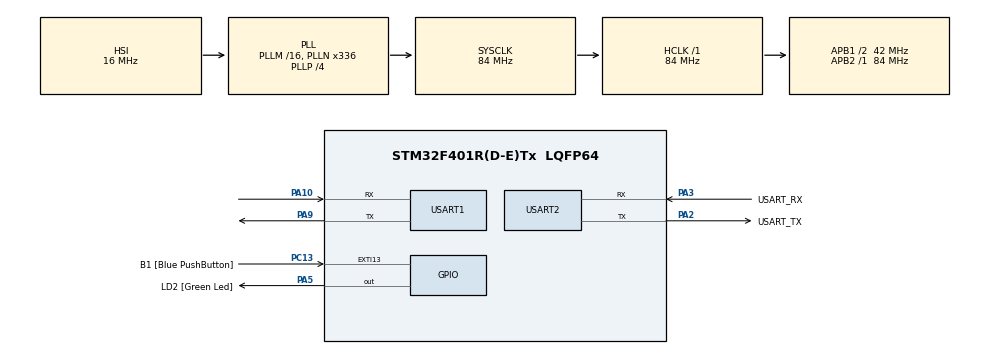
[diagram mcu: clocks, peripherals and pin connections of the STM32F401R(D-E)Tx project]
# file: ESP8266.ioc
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Mcu.Family=STM32F4
Mcu.Name=STM32F401R(D-E)Tx
Mcu.Package=LQFP64
NVIC.PriorityGroup=NVIC_PRIORITYGROUP_0
NVIC.USART1_IRQn=true\:0\:3\:false\:true\:true\:2\:true\:true\:true
NVIC.USART2_IRQn=true\:0\:4\:false\:true\:true\:1\:true\:true\:true
PA10.Mode=Asynchronous
PA10.Signal=USART1_RX
PA13.GPIO_Label=TMS
PA13.Mode=Serial_Wire
PA13.Signal=SYS_JTMS-SWDIO
PA14.GPIO_Label=TCK
PA14.Mode=Serial_Wire
PA14.Signal=SYS_JTCK-SWCLK
PA2.GPIO_Label=USART_TX
PA2.GPIO_Mode=GPIO_MODE_AF_PP
PA2.GPIO_PuPd=GPIO_NOPULL
PA2.GPIO_Speed=GPIO_SPEED_FREQ_LOW
PA2.Mode=Asynchronous
PA2.Signal=USART2_TX
PA3.GPIO_Label=USART_RX
PA3.GPIO_Mode=GPIO_MODE_AF_PP
PA3.GPIO_PuPd=GPIO_NOPULL
PA3.GPIO_Speed=GPIO_SPEED_FREQ_LOW
PA3.Mode=Asynchronous
PA3.Signal=USART2_RX
PA5.GPIO_Label=LD2 [Green Led]
PA5.GPIO_Mode=GPIO_MODE_OUTPUT_PP
PA5.GPIO_PuPd=GPIO_NOPULL
PA5.GPIO_Speed=GPIO_SPEED_FREQ_LOW
PA5.Signal=GPIO_Output
PA9.Mode=Asynchronous
PA9.Signal=USART1_TX
PB3.GPIO_Label=SWO
PB3.Signal=SYS_JTDO-SWO
PC13-ANTI_TAMP.GPIO_Label=B1 [Blue PushButton]
PC13-ANTI_TAMP.GPIO_ModeDefaultEXTI=GPIO_MODE_IT_FALLING
PC13-ANTI_TAMP.GPIO_PuPd=GPIO_NOPULL
PC13-ANTI_TAMP.Signal=GPXTI13
PC14-OSC32_IN.Mode=LSE-External-Oscillator
PC14-OSC32_IN.Signal=RCC_OSC32_IN
PC15-OSC32_OUT.Mode=LSE-External-Oscillator
PC15-OSC32_OUT.Signal=RCC_OSC32_OUT
PH0\ -\ OSC_IN.Mode=HSE-External-Clock-Source
PH0\ -\ OSC_IN.Signal=RCC_OSC_IN
PH1\ -\ OSC_OUT.Mode=HSE-External-Clock-Source
PH1\ -\ OSC_OUT.Signal=RCC_OSC_OUT
ProjectManager.HeapSize=0x200
ProjectManager.StackSize=0x400
ProjectManager.TargetToolchain=STM32CubeIDE
RCC.48MHZClocksFreq_Value=48000000
RCC.AHBFreq_Value=84000000
RCC.APB1CLKDivider=RCC_HCLK_DIV2
RCC.APB1Freq_Value=42000000
RCC.APB1TimFreq_Value=84000000
RCC.APB2Freq_Value=84000000
RCC.APB2TimFreq_Value=84000000
RCC.CortexFreq_Value=84000000
RCC.HCLKFreq_Value=84000000
RCC.HSE_VALUE=8000000
RCC.HSI_VALUE=16000000
RCC.PLLN=336
RCC.PLLP=RCC_PLLP_DIV4
RCC.PLLQ=7
RCC.SYSCLKFreq_VALUE=84000000
RCC.SYSCLKSource=RCC_SYSCLKSOURCE_PLLCLK
RCC.VCOOutputFreq_Value=336000000
USART1.VirtualMode=VM_ASYNC
USART2.VirtualMode=VM_ASYNC
board=NUCLEO-F401RE

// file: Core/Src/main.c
/* USER CODE BEGIN Header */
/**
  ******************************************************************************
  * @file           : main.c
  * @brief          : Main program body
  ******************************************************************************
  * @attention
  *
  * Copyright (c) 2023 STMicroelectronics.
  * All rights reserved.
  *
  * This software is licensed under terms that can be found in the LICENSE file
  * in the root directory of this software component.
  * If no LICENSE file comes with this software, it is provided AS-IS.
  *
  ******************************************************************************
  */
/* USER CODE END Header */
#include "main.h"

/* USER CODE BEGIN Includes */
#include "queue.h"
#include "ESP8266.h"
/* USER CODE END Includes */

/* USER CODE BEGIN PTD */
/*
 NUCLEO-F401RE
 D2 A10 RX
 D8 A9  TX

 WIFI PIN
 | O TX    -> D2     |       GND      O |
 | O CH_EN -> 3.3V   |       GPIO2    O |
 | O RST             |       GPIO0    O |
 | O VCC   -> 3.3V   | D8 <- RX       O |
//netsh wlan set hostednetwork mode=allow ssid=A123  key=u9923001
//列出基地台:  AT+CWLAP
//和WIFI連線:  AT+CWJAP="612-2","u9923001"
//查詢IP:  AT+CIFSR
//發送封包步驟:
//建立TCP連線:  AT+CIPSTART="TCP","192.168.0.168",8080
//設定傳送字數:  AT+CIPSEND=29
//設定傳送的內容:  GET /192.168.0.168:8080?test=1
//發送內容並結束TCP連線: AT+CIPCLOSE
//結束WIFI連線: AT+CWQAP
//AT+CIPSTATUS

*/
/* USER CODE END PTD */

UART_HandleTypeDef huart1;
UART_HandleTypeDef huart2;

/* USER CODE BEGIN PV */
char pcTxBuff[64];
char pcRxBuff[64];
char wifiTxBuff[64];
char wifiRxBuff[64];
Queue_t pcTxQueue;
Queue_t pcRxQueue;
Queue_t wifiTxQueue;
Queue_t wifiRxQueue;

/* USER CODE END PV */

void SystemClock_Config(void);
static void MX_GPIO_Init(void);
static void MX_USART2_UART_Init(void);
static void MX_USART1_UART_Init(void);
static void MX_NVIC_Init(void);

int main(void)
{
  /* USER CODE BEGIN 1 */
	int len=0;
	char tmp[4];
  /* USER CODE END 1 */

  /* MCU Configuration--------------------------------------------------------*/

  /* Reset of all peripherals, Initializes the Flash interface and the Systick. */
  HAL_Init();

  /* USER CODE BEGIN Init */
  QueueInit(&pcTxQueue, pcTxBuff, sizeof(pcTxBuff));
  QueueInit(&pcRxQueue, pcRxBuff, sizeof(pcRxBuff));
  QueueInit(&wifiTxQueue, wifiTxBuff, sizeof(wifiTxBuff));
  QueueInit(&wifiRxQueue, wifiRxBuff, sizeof(wifiRxBuff));

  /* USER CODE END Init */

  /* Configure the system clock */
  SystemClock_Config();

  /* Initialize all configured peripherals */
  MX_GPIO_Init();
  MX_USART2_UART_Init();
  MX_USART1_UART_Init();

  /* Initialize interrupts */
  MX_NVIC_Init();

  /* Infinite loop */
  while (1)
  {

    /* USER CODE BEGIN 3 */

	// wifi to pc
	/*if(HAL_UART_Receive_IT(&huart1, &tmp[0], 1)==HAL_OK){
		QueueWrite(&wifiRxQueue, tmp[0]);
	}*/
	if(QueueRead(&wifiRxQueue, &tmp[1])){
		HAL_UART_Transmit(&huart2, &tmp[1], 1, 100);
	}

	//pc to wifi
	/*if(HAL_UART_Receive_IT(&huart2, &tmp[2], 1)==HAL_OK){
		QueueWrite(&pcRxQueue, tmp[2]);
	}*/
	if(QueueRead(&pcRxQueue, &tmp[3])){
		HAL_UART_Transmit(&huart1, &tmp[3], 1, 100);
	}

  }
  /* USER CODE END 3 */
}

void SystemClock_Config(void)
{
  RCC_OscInitTypeDef RCC_OscInitStruct = {0};
  RCC_ClkInitTypeDef RCC_ClkInitStruct = {0};

  /** Configure the main internal regulator output voltage
  */
  __HAL_RCC_PWR_CLK_ENABLE();
  __HAL_PWR_VOLTAGESCALING_CONFIG(PWR_REGULATOR_VOLTAGE_SCALE2);

  /** Initializes the RCC Oscillators according to the specified parameters
  * in the RCC_OscInitTypeDef structure.
  */
  RCC_OscInitStruct.OscillatorType = RCC_OSCILLATORTYPE_HSI;
  RCC_OscInitStruct.HSIState = RCC_HSI_ON;
  RCC_OscInitStruct.HSICalibrationValue = RCC_HSICALIBRATION_DEFAULT;
  RCC_OscInitStruct.PLL.PLLState = RCC_PLL_ON;
  RCC_OscInitStruct.PLL.PLLSource = RCC_PLLSOURCE_HSI;
  RCC_OscInitStruct.PLL.PLLM = 16;
  RCC_OscInitStruct.PLL.PLLN = 336;
  RCC_OscInitStruct.PLL.PLLP = RCC_PLLP_DIV4;
  RCC_OscInitStruct.PLL.PLLQ = 7;
  if (HAL_RCC_OscConfig(&RCC_OscInitStruct) != HAL_OK)
  {
    Error_Handler();
  }

  /** Initializes the CPU, AHB and APB buses clocks
  */
  RCC_ClkInitStruct.ClockType = RCC_CLOCKTYPE_HCLK|RCC_CLOCKTYPE_SYSCLK
                              |RCC_CLOCKTYPE_PCLK1|RCC_CLOCKTYPE_PCLK2;
  RCC_ClkInitStruct.SYSCLKSource = RCC_SYSCLKSOURCE_PLLCLK;
  RCC_ClkInitStruct.AHBCLKDivider = RCC_SYSCLK_DIV1;
  RCC_ClkInitStruct.APB1CLKDivider = RCC_HCLK_DIV2;
  RCC_ClkInitStruct.APB2CLKDivider = RCC_HCLK_DIV1;

  if (HAL_RCC_ClockConfig(&RCC_ClkInitStruct, FLASH_LATENCY_2) != HAL_OK)
  {
    Error_Handler();
  }
}

/**
  * @brief NVIC Configuration.
  * @retval None
  */
static void MX_NVIC_Init(void)
{
  /* USART2_IRQn interrupt configuration */
  HAL_NVIC_SetPriority(USART2_IRQn, 0, 4);
  HAL_NVIC_EnableIRQ(USART2_IRQn);
  /* USART1_IRQn interrupt configuration */
  HAL_NVIC_SetPriority(USART1_IRQn, 0, 3);
  HAL_NVIC_EnableIRQ(USART1_IRQn);
}

static void MX_USART1_UART_Init(void)
{

  huart1.Instance = USART1;
  huart1.Init.BaudRate = 115200;
  huart1.Init.WordLength = UART_WORDLENGTH_8B;
  huart1.Init.StopBits = UART_STOPBITS_1;
  huart1.Init.Parity = UART_PARITY_NONE;
  huart1.Init.Mode = UART_MODE_TX_RX;
  huart1.Init.HwFlowCtl = UART_HWCONTROL_NONE;
  huart1.Init.OverSampling = UART_OVERSAMPLING_16;
  if (HAL_UART_Init(&huart1) != HAL_OK)
  {
    Error_Handler();
  }
  /* USER CODE BEGIN USART1_Init 2 */
  __HAL_UART_ENABLE_IT(&huart1, UART_IT_RXNE);
  /* USER CODE END USART1_Init 2 */

}

static void MX_USART2_UART_Init(void)
{

  huart2.Instance = USART2;
  huart2.Init.BaudRate = 115200;
  huart2.Init.WordLength = UART_WORDLENGTH_8B;
  huart2.Init.StopBits = UART_STOPBITS_1;
  huart2.Init.Parity = UART_PARITY_NONE;
  huart2.Init.Mode = UART_MODE_TX_RX;
  huart2.Init.HwFlowCtl = UART_HWCONTROL_NONE;
  huart2.Init.OverSampling = UART_OVERSAMPLING_16;
  if (HAL_UART_Init(&huart2) != HAL_OK)
  {
    Error_Handler();
  }
  /* USER CODE BEGIN USART2_Init 2 */
  __HAL_UART_ENABLE_IT(&huart2, UART_IT_RXNE);
  /* USER CODE END USART2_Init 2 */

}

static void  MX_GPIO_Init(void)
{
  GPIO_InitTypeDef GPIO_InitStruct = {0};

  /* GPIO Ports Clock Enable */
  __HAL_RCC_GPIOC_CLK_ENABLE();
  __HAL_RCC_GPIOH_CLK_ENABLE();
  __HAL_RCC_GPIOA_CLK_ENABLE();
  __HAL_RCC_GPIOB_CLK_ENABLE();

  /*Configure GPIO pin Output Level */
  HAL_GPIO_WritePin(LD2_GPIO_Port, LD2_Pin, GPIO_PIN_RESET);

  /*Configure GPIO pin : B1_Pin */
  GPIO_InitStruct.Pin = B1_Pin;
  GPIO_InitStruct.Mode = GPIO_MODE_IT_FALLING;
  GPIO_InitStruct.Pull = GPIO_NOPULL;
  HAL_GPIO_Init(B1_GPIO_Port, &GPIO_InitStruct);

  /*Configure GPIO pin : LD2_Pin */
  GPIO_InitStruct.Pin = LD2_Pin;
  GPIO_InitStruct.Mode = GPIO_MODE_OUTPUT_PP;
  GPIO_InitStruct.Pull = GPIO_NOPULL;
  GPIO_InitStruct.Speed = GPIO_SPEED_FREQ_LOW;
  HAL_GPIO_Init(LD2_GPIO_Port, &GPIO_InitStruct);

}

void Error_Handler(void)
{
  __disable_irq();
  while (1)
  {
  }
}
